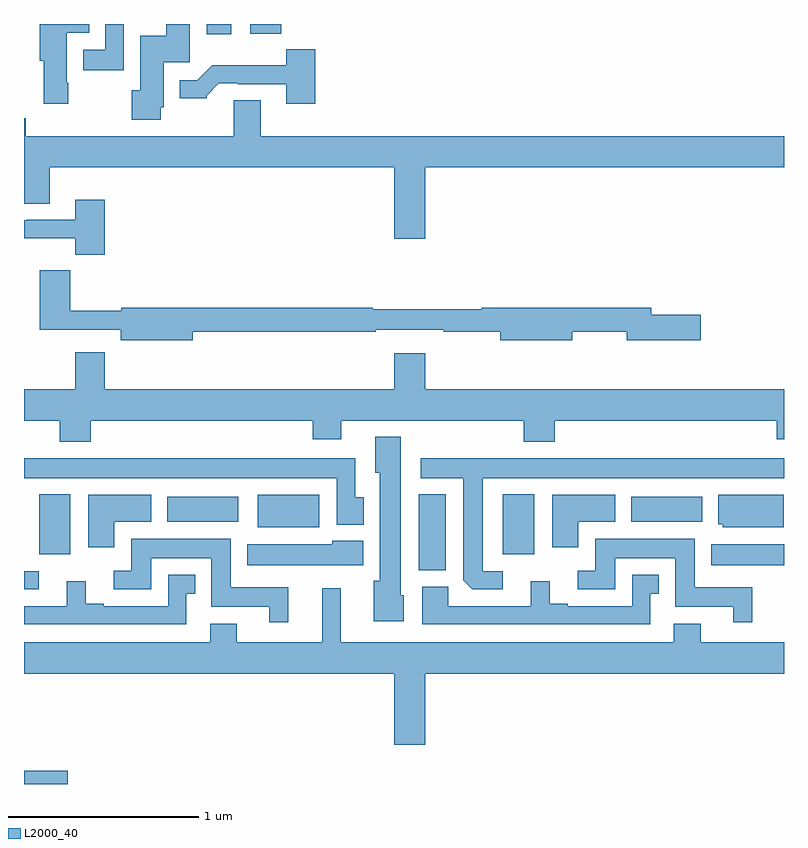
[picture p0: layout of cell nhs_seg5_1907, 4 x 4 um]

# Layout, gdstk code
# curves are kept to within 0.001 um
import gdstk
lib = gdstk.Library(unit=1e-6, precision=1e-09)
def R(c, l, rs):  # rectangles x0, y0, x1, y1
    for r in rs: c.add(gdstk.rectangle(r[:2], r[2:], *l))
def P(c, l, *ps):  # polygons
    for p in ps: c.add(gdstk.Polygon(p, *l))
L2000_40 = (2000, 40)

nhs_seg5_1907 = lib.new_cell('nhs_seg5_1907')
R(nhs_seg5_1907, L2000_40, [(223,902.799,223.231,902.87), (223,903.825,223.078,903.918), (225.077,903.923,225.22,904.324), (226.616,903.95,227,904.06), (223.079,904.008,223.243,904.324), (225.521,904.008,225.685,904.324), (224.231,904.151,224.554,904.321), (223.754,904.178,224.128,904.312), (226.196,904.178,226.57,904.312), (223.961,906.744,224.092,906.799), (224.192,906.749,224.354,906.799)])
P(nhs_seg5_1907, L2000_40, [(223.524,906.799),(223.428,906.799),(223.428,906.663),(223.311,906.663),(223.311,906.555),(223.524,906.555)],
  [(223.233,906.49),(223.225,906.49),(223.225,906.752),(223.343,906.752),(223.343,906.799),(223.082,906.799),(223.082,906.606),(223.103,906.606),(223.103,906.378),(223.233,906.378)],
  [(223.719,906.36),(223.735,906.36),(223.735,906.597),(223.873,906.597),(223.873,906.799),(223.748,906.799),(223.748,906.736),(223.613,906.736),(223.613,906.45),(223.567,906.45),(223.567,906.294),(223.719,906.294)],
  [(224.534,906.667),(224.379,906.667),(224.379,906.583),(223.99,906.583),(223.911,906.504),(223.82,906.504),(223.82,906.407),(223.962,906.407),(223.962,906.422),(224.026,906.486),(224.125,906.486),(224.125,906.483),(224.381,906.483),(224.381,906.378),(224.534,906.378)],
  [(225.112,906.044),(227,906.044),(227,906.208),(224.245,906.208),(224.245,906.398),(224.105,906.398),(224.105,906.208),(223.01,906.208),(223.01,906.304),(223,906.304),(223,905.854),(223.135,905.854),(223.135,906.044),(224.948,906.044),(224.948,905.67),(225.112,905.67)],
  [(223.424,905.875),(223.271,905.875),(223.271,905.769),(223.015,905.769),(223.015,905.766),(223,905.766),(223,905.672),(223.269,905.672),(223.269,905.585),(223.424,905.585)],
  [(223.888,905.178),(224.852,905.178),(224.852,905.19),(225.208,905.19),(225.208,905.178),(225.506,905.178),(225.506,905.135),(225.886,905.135),(225.886,905.178),(226.172,905.178),(226.172,905.135),(226.561,905.135),(226.561,905.27),(226.3,905.27),(226.3,905.306),(225.41,905.306),(225.41,905.299),(224.835,905.299),(224.835,905.306),(223.512,905.306),(223.512,905.291),(223.244,905.291),(223.244,905.503),(223.082,905.503),(223.082,905.19),(223.508,905.19),(223.508,905.135),(223.888,905.135)],
  [(223.352,904.712),(224.519,904.712),(224.519,904.613),(224.671,904.613),(224.671,904.712),(225.629,904.712),(225.629,904.601),(225.794,904.601),(225.794,904.712),(226.961,904.712),(226.961,904.613),(227,904.613),(227,904.876),(225.112,904.876),(225.112,905.065),(224.948,905.065),(224.948,904.876),(223.424,904.876),(223.424,905.071),(223.271,905.071),(223.271,904.876),(223,904.876),(223,904.712),(223.187,904.712),(223.187,904.601),(223.352,904.601)],
  [(224.998,903.792),(224.983,903.792),(224.983,904.627),(224.849,904.627),(224.849,904.437),(224.873,904.437),(224.873,903.87),(224.84,903.87),(224.84,903.656),(224.998,903.656)],
  [(225.52,903.918),(225.415,903.918),(225.415,904.409),(227,904.409),(227,904.513),(225.087,904.513),(225.087,904.409),(225.311,904.409),(225.312,903.871),(225.358,903.825),(225.52,903.825)],
  [(224.788,904.308),(224.743,904.308),(224.743,904.513),(223,904.513),(223,904.409),(224.646,904.409),(224.646,904.164),(224.788,904.164)],
  [(225.916,904.178),(226.111,904.178),(226.111,904.321),(225.779,904.321),(225.779,904.044),(225.916,904.044)],
  [(226.999,904.321),(226.655,904.321),(226.655,904.167),(226.677,904.167),(226.677,904.151),(226.999,904.151)],
  [(223.474,904.178),(223.669,904.178),(223.669,904.321),(223.337,904.321),(223.337,904.044),(223.474,904.044)],
  [(226.832,903.835),(226.531,903.835),(226.531,904.09),(226.007,904.09),(226.007,903.921),(225.915,903.921),(225.915,903.825),(226.111,903.825),(226.111,903.986),(226.427,903.986),(226.427,903.731),(226.733,903.731),(226.733,903.651),(226.832,903.651)],
  [(224.39,903.835),(224.089,903.835),(224.089,904.09),(223.565,904.09),(223.565,903.921),(223.473,903.921),(223.473,903.825),(223.669,903.825),(223.669,903.986),(223.985,903.986),(223.985,903.731),(224.291,903.731),(224.291,903.651),(224.39,903.651)],
  [(224.785,904.078),(224.622,904.078),(224.622,904.06),(224.174,904.06),(224.174,903.95),(224.785,903.95)],
  [(226.296,903.801),(226.342,903.801),(226.342,903.901),(226.2,903.901),(226.2,903.735),(225.862,903.735),(225.862,903.748),(225.766,903.748),(225.766,903.865),(225.668,903.865),(225.668,903.735),(225.234,903.735),(225.234,903.838),(225.095,903.838),(225.095,903.639),(226.296,903.639)],
  [(223.854,903.801),(223.9,903.801),(223.9,903.901),(223.758,903.901),(223.758,903.735),(223.42,903.735),(223.42,903.748),(223.324,903.748),(223.324,903.865),(223.226,903.865),(223.226,903.735),(223,903.735),(223,903.639),(223.854,903.639)],
  [(225.112,903.38),(227,903.38),(227,903.544),(226.561,903.544),(226.561,903.643),(226.421,903.643),(226.421,903.544),(224.668,903.544),(224.668,903.829),(224.57,903.829),(224.57,903.544),(224.119,903.544),(224.119,903.643),(223.979,903.643),(223.979,903.544),(223,903.544),(223,903.38),(224.948,903.38),(224.948,903.006),(225.112,903.006)])

lib.write_gds('nhs_seg5_1907.gds')
